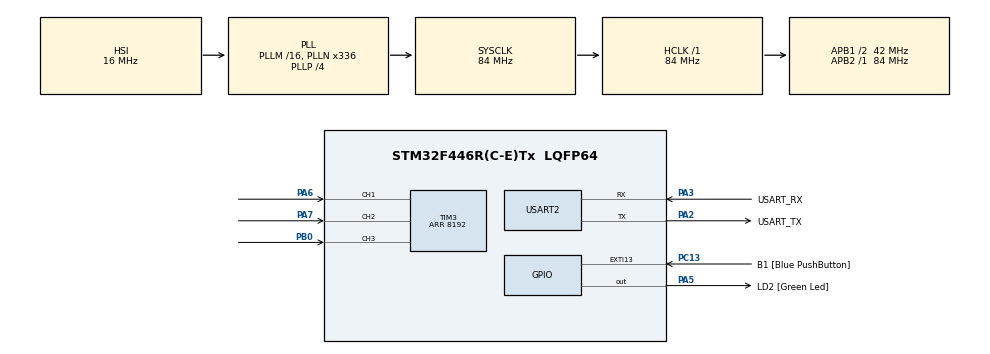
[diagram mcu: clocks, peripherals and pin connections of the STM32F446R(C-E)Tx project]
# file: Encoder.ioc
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Mcu.Family=STM32F4
Mcu.Name=STM32F446R(C-E)Tx
Mcu.Package=LQFP64
NVIC.PriorityGroup=NVIC_PRIORITYGROUP_0
NVIC.TIM3_IRQn=true\:0\:0\:false\:false\:true\:true\:true
PA13.GPIO_Label=TMS
PA13.Mode=Serial_Wire
PA13.Signal=SYS_JTMS-SWDIO
PA14.GPIO_Label=TCK
PA14.Mode=Serial_Wire
PA14.Signal=SYS_JTCK-SWCLK
PA2.GPIO_Label=USART_TX
PA2.Mode=Asynchronous
PA2.Signal=USART2_TX
PA3.GPIO_Label=USART_RX
PA3.Mode=Asynchronous
PA3.Signal=USART2_RX
PA5.GPIO_Label=LD2 [Green Led]
PA5.Signal=GPIO_Output
PA6.Signal=S_TIM3_CH1
PA7.Signal=S_TIM3_CH2
PB0.Signal=S_TIM3_CH3
PB3.GPIO_Label=SWO
PB3.Signal=SYS_JTDO-SWO
PC13.GPIO_Label=B1 [Blue PushButton]
PC13.GPIO_ModeDefaultEXTI=GPIO_MODE_IT_FALLING
PC13.Signal=GPXTI13
PC14-OSC32_IN.Mode=LSE-External-Oscillator
PC14-OSC32_IN.Signal=RCC_OSC32_IN
PC15-OSC32_OUT.Mode=LSE-External-Oscillator
PC15-OSC32_OUT.Signal=RCC_OSC32_OUT
PH0-OSC_IN.Mode=HSE-External-Oscillator
PH0-OSC_IN.Signal=RCC_OSC_IN
PH1-OSC_OUT.Mode=HSE-External-Oscillator
PH1-OSC_OUT.Signal=RCC_OSC_OUT
ProjectManager.HeapSize=0x200
ProjectManager.StackSize=0x400
ProjectManager.TargetToolchain=STM32CubeIDE
RCC.48MHZClocksFreq_Value=84000000
RCC.AHBFreq_Value=84000000
RCC.APB1CLKDivider=RCC_HCLK_DIV2
RCC.APB1Freq_Value=42000000
RCC.APB1TimFreq_Value=84000000
RCC.APB2Freq_Value=84000000
RCC.APB2TimFreq_Value=84000000
RCC.CortexFreq_Value=84000000
RCC.FLatency-AdvancedSettings=FLASH_LATENCY_2
RCC.HCLKFreq_Value=84000000
RCC.HSE_VALUE=8000000
RCC.HSI_VALUE=16000000
RCC.PLLN=336
RCC.PLLP=RCC_PLLP_DIV4
RCC.SYSCLKFreq_VALUE=84000000
RCC.SYSCLKSource=RCC_SYSCLKSOURCE_PLLCLK
RCC.USBFreq_Value=168000000
RCC.VCOOutputFreq_Value=336000000
SH.S_TIM3_CH1.0=TIM3_CH1,Encoder_Interface
SH.S_TIM3_CH2.0=TIM3_CH2,Encoder_Interface
SH.S_TIM3_CH3.0=TIM3_CH3,Input_Capture3_from_TI3
TIM3.Channel-Input_Capture3_from_TI3=TIM_CHANNEL_3
TIM3.EncoderMode=TIM_ENCODERMODE_TI12
TIM3.Period=8192
USART2.VirtualMode=VM_ASYNC
board=NUCLEO-F446RE

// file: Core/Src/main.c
/* USER CODE BEGIN Header */
/**
  ******************************************************************************
  * @file           : main.c
  * @brief          : Main program body
  ******************************************************************************
  * @attention
  *
  * <h2><center>&copy; Copyright (c) 2021 STMicroelectronics.
  * All rights reserved.</center></h2>
  *
  * This software component is licensed by ST under BSD 3-Clause license,
  * the "License"; You may not use this file except in compliance with the
  * License. You may obtain a copy of the License at:
  *                        opensource.org/licenses/BSD-3-Clause
  *
  ******************************************************************************
  */
/* USER CODE END Header */

#include "main.h"

/* USER CODE BEGIN Includes */
#include<stdio.h>

/* USER CODE END Includes */

TIM_HandleTypeDef htim3;

UART_HandleTypeDef huart2;

/* USER CODE BEGIN PV */
volatile int isCaptured = 0;

/* USER CODE END PV */

void SystemClock_Config(void);
static void MX_GPIO_Init(void);
static void MX_USART2_UART_Init(void);
static void MX_TIM3_Init(void);

int main(void)
{

  /* MCU Configuration--------------------------------------------------------*/

  /* Reset of all peripherals, Initializes the Flash interface and the Systick. */
  HAL_Init();

  /* Configure the system clock */
  SystemClock_Config();

  /* Initialize all configured peripherals */
  MX_GPIO_Init();
  MX_USART2_UART_Init();
  MX_TIM3_Init();

  /* Infinite loop */
  /* USER CODE BEGIN WHILE */
  uint32_t prevPos = 0xffffffff;
  HAL_GPIO_WritePin(LD2_GPIO_Port,LD2_Pin,GPIO_PIN_SET);
  HAL_TIM_Encoder_Start(&htim3,TIM_CHANNEL_1 || TIM_CHANNEL_2);
  HAL_TIM_IC_Start_IT(&htim3,TIM_CHANNEL_3);
  HAL_TIM_IC_Start(&htim3,TIM_CHANNEL_3);
  while (1)
  {

    /* USER CODE END WHILE */

    /* USER CODE BEGIN 3 */
	  int btn = HAL_GPIO_ReadPin(B1_GPIO_Port,B1_Pin);
	  if(!btn){
		  isCaptured = 0;
		  HAL_TIM_IC_Start_IT(&htim3,TIM_CHANNEL_3);
		  HAL_TIM_IC_Start(&htim3,TIM_CHANNEL_3);
		  HAL_GPIO_WritePin(LD2_GPIO_Port,LD2_Pin,GPIO_PIN_SET);
	  }
	  if(isCaptured){
		  isCaptured = 0;
		  HAL_TIM_IC_Stop(&htim3,TIM_CHANNEL_3);
		  HAL_GPIO_WritePin(LD2_GPIO_Port,LD2_Pin,GPIO_PIN_RESET);
	  }
	  const int period = 8192;

	  uint32_t pos = (TIM3 -> CNT + period - TIM3 -> CCR3) % period;
	  if(pos != prevPos){
		  printf("%ld %ld\n",pos,TIM3 -> CNT);
	  }
	  prevPos = pos;
  }
  /* USER CODE END 3 */
}

void SystemClock_Config(void)
{
  RCC_OscInitTypeDef RCC_OscInitStruct = {0};
  RCC_ClkInitTypeDef RCC_ClkInitStruct = {0};

  /** Configure the main internal regulator output voltage
  */
  __HAL_RCC_PWR_CLK_ENABLE();
  __HAL_PWR_VOLTAGESCALING_CONFIG(PWR_REGULATOR_VOLTAGE_SCALE3);
  /** Initializes the CPU, AHB and APB busses clocks
  */
  RCC_OscInitStruct.OscillatorType = RCC_OSCILLATORTYPE_HSI;
  RCC_OscInitStruct.HSIState = RCC_HSI_ON;
  RCC_OscInitStruct.HSICalibrationValue = RCC_HSICALIBRATION_DEFAULT;
  RCC_OscInitStruct.PLL.PLLState = RCC_PLL_ON;
  RCC_OscInitStruct.PLL.PLLSource = RCC_PLLSOURCE_HSI;
  RCC_OscInitStruct.PLL.PLLM = 16;
  RCC_OscInitStruct.PLL.PLLN = 336;
  RCC_OscInitStruct.PLL.PLLP = RCC_PLLP_DIV4;
  RCC_OscInitStruct.PLL.PLLQ = 2;
  RCC_OscInitStruct.PLL.PLLR = 2;
  if (HAL_RCC_OscConfig(&RCC_OscInitStruct) != HAL_OK)
  {
    Error_Handler();
  }
  /** Initializes the CPU, AHB and APB busses clocks
  */
  RCC_ClkInitStruct.ClockType = RCC_CLOCKTYPE_HCLK|RCC_CLOCKTYPE_SYSCLK
                              |RCC_CLOCKTYPE_PCLK1|RCC_CLOCKTYPE_PCLK2;
  RCC_ClkInitStruct.SYSCLKSource = RCC_SYSCLKSOURCE_PLLCLK;
  RCC_ClkInitStruct.AHBCLKDivider = RCC_SYSCLK_DIV1;
  RCC_ClkInitStruct.APB1CLKDivider = RCC_HCLK_DIV2;
  RCC_ClkInitStruct.APB2CLKDivider = RCC_HCLK_DIV1;

  if (HAL_RCC_ClockConfig(&RCC_ClkInitStruct, FLASH_LATENCY_2) != HAL_OK)
  {
    Error_Handler();
  }
}

static void MX_TIM3_Init(void)
{

  TIM_Encoder_InitTypeDef sConfig = {0};
  TIM_MasterConfigTypeDef sMasterConfig = {0};
  TIM_IC_InitTypeDef sConfigIC = {0};

  htim3.Instance = TIM3;
  htim3.Init.Prescaler = 0;
  htim3.Init.CounterMode = TIM_COUNTERMODE_UP;
  htim3.Init.Period = 8192;
  htim3.Init.ClockDivision = TIM_CLOCKDIVISION_DIV1;
  htim3.Init.AutoReloadPreload = TIM_AUTORELOAD_PRELOAD_DISABLE;
  if (HAL_TIM_IC_Init(&htim3) != HAL_OK)
  {
    Error_Handler();
  }
  sConfig.EncoderMode = TIM_ENCODERMODE_TI12;
  sConfig.IC1Polarity = TIM_ICPOLARITY_RISING;
  sConfig.IC1Selection = TIM_ICSELECTION_DIRECTTI;
  sConfig.IC1Prescaler = TIM_ICPSC_DIV1;
  sConfig.IC1Filter = 0;
  sConfig.IC2Polarity = TIM_ICPOLARITY_RISING;
  sConfig.IC2Selection = TIM_ICSELECTION_DIRECTTI;
  sConfig.IC2Prescaler = TIM_ICPSC_DIV1;
  sConfig.IC2Filter = 0;
  if (HAL_TIM_Encoder_Init(&htim3, &sConfig) != HAL_OK)
  {
    Error_Handler();
  }
  sMasterConfig.MasterOutputTrigger = TIM_TRGO_RESET;
  sMasterConfig.MasterSlaveMode = TIM_MASTERSLAVEMODE_DISABLE;
  if (HAL_TIMEx_MasterConfigSynchronization(&htim3, &sMasterConfig) != HAL_OK)
  {
    Error_Handler();
  }
  sConfigIC.ICPolarity = TIM_INPUTCHANNELPOLARITY_RISING;
  sConfigIC.ICSelection = TIM_ICSELECTION_DIRECTTI;
  sConfigIC.ICPrescaler = TIM_ICPSC_DIV1;
  sConfigIC.ICFilter = 0;
  if (HAL_TIM_IC_ConfigChannel(&htim3, &sConfigIC, TIM_CHANNEL_3) != HAL_OK)
  {
    Error_Handler();
  }

}

static void MX_USART2_UART_Init(void)
{

  huart2.Instance = USART2;
  huart2.Init.BaudRate = 115200;
  huart2.Init.WordLength = UART_WORDLENGTH_8B;
  huart2.Init.StopBits = UART_STOPBITS_1;
  huart2.Init.Parity = UART_PARITY_NONE;
  huart2.Init.Mode = UART_MODE_TX_RX;
  huart2.Init.HwFlowCtl = UART_HWCONTROL_NONE;
  huart2.Init.OverSampling = UART_OVERSAMPLING_16;
  if (HAL_UART_Init(&huart2) != HAL_OK)
  {
    Error_Handler();
  }

}

static void MX_GPIO_Init(void)
{
  GPIO_InitTypeDef GPIO_InitStruct = {0};

  /* GPIO Ports Clock Enable */
  __HAL_RCC_GPIOC_CLK_ENABLE();
  __HAL_RCC_GPIOH_CLK_ENABLE();
  __HAL_RCC_GPIOA_CLK_ENABLE();
  __HAL_RCC_GPIOB_CLK_ENABLE();

  /*Configure GPIO pin Output Level */
  HAL_GPIO_WritePin(LD2_GPIO_Port, LD2_Pin, GPIO_PIN_RESET);

  /*Configure GPIO pin : B1_Pin */
  GPIO_InitStruct.Pin = B1_Pin;
  GPIO_InitStruct.Mode = GPIO_MODE_IT_FALLING;
  GPIO_InitStruct.Pull = GPIO_NOPULL;
  HAL_GPIO_Init(B1_GPIO_Port, &GPIO_InitStruct);

  /*Configure GPIO pin : LD2_Pin */
  GPIO_InitStruct.Pin = LD2_Pin;
  GPIO_InitStruct.Mode = GPIO_MODE_OUTPUT_PP;
  GPIO_InitStruct.Pull = GPIO_NOPULL;
  GPIO_InitStruct.Speed = GPIO_SPEED_FREQ_LOW;
  HAL_GPIO_Init(LD2_GPIO_Port, &GPIO_InitStruct);

}

/* USER CODE BEGIN 4 */
int _write(int file,char *ptr,int len)
{
	HAL_UART_Transmit(&huart2,(uint8_t *)ptr,len,10);
	return len;
}

/* USER CODE END 4 */

void Error_Handler(void)
{
}

/************************ (C) COPYRIGHT STMicroelectronics *****END OF FILE****/
